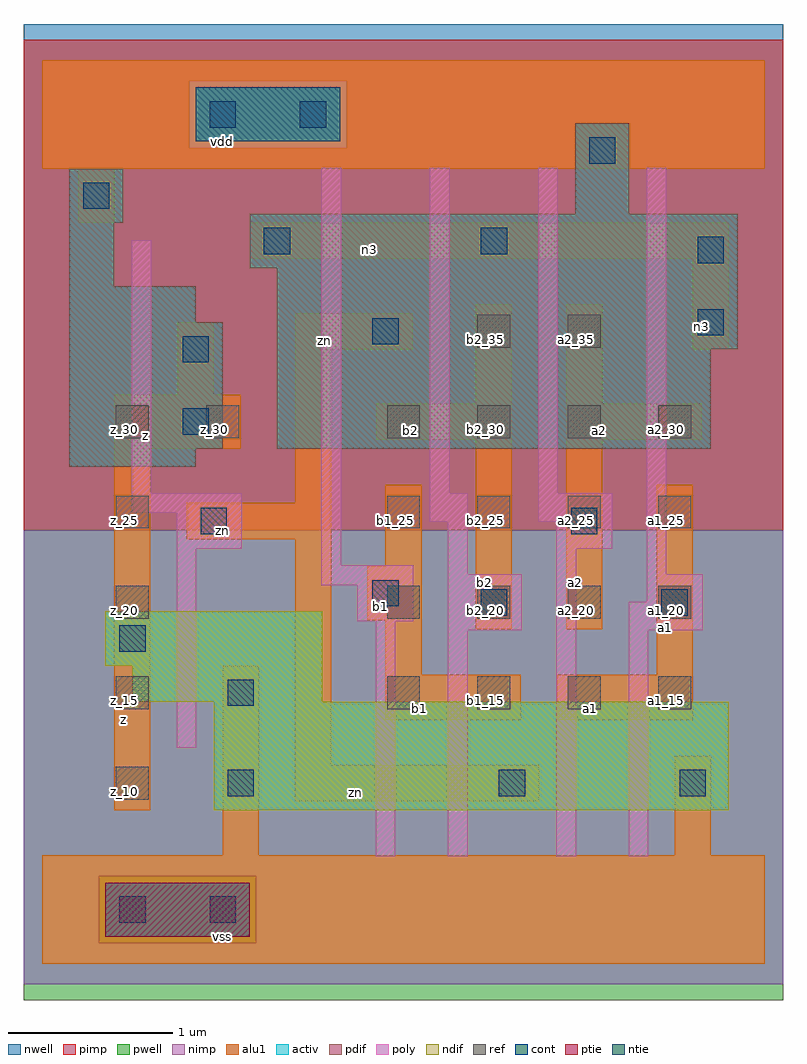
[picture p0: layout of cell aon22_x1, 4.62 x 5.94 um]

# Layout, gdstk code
import gdstk
lib = gdstk.Library(unit=1e-6, precision=2.5e-09)
def R(c, l, rs):  # rectangles x0, y0, x1, y1
    for r in rs: c.add(gdstk.rectangle(r[:2], r[2:], *l))
def A(c, l, x, y, w, h, nx, ny, dx, dy):  # array of equal rectangles
    R(c, l, [(x+i*dx, y+j*dy, x+i*dx+w, y+j*dy+h) for i in range(nx) for j in range(ny)])
ndif = (3, 0)
pdif = (4, 0)
ntie = (5, 0)
ptie = (6, 0)
ref = (24, 0)
cont = (25, 0)
pwell = (41, 0)
nwell = (42, 0)
activ = (43, 0)
pimp = (44, 0)
nimp = (45, 0)
poly = (46, 0)
alu1 = (49, 0)

aon22_x1 = lib.new_cell('aon22_x1')
R(aon22_x1, ndif, [(1.045,0.935,4.18,1.595), (0.55,1.595,1.705,1.815), (0.385,1.815,1.705,2.145)])
R(aon22_x1, pdif, [(0.165,3.025,0.935,3.135), (0.165,3.135,1.1,3.905), (1.43,3.135,4.07,3.74), (1.43,3.74,4.235,4.235), (0.165,3.905,0.935,4.125), (0.165,4.125,0.44,4.51), (1.265,4.235,4.235,4.565), (0.165,4.51,0.495,4.84), (3.245,4.565,3.575,5.115)])
R(aon22_x1, ntie, [(0.935,5.005,1.815,5.335)])
R(aon22_x1, ptie, [(0.385,0.165,1.265,0.495)])
A(aon22_x1, ref, 0.45, 1, 0.2, 0.2, 1, 5, 0, 0.55)
A(aon22_x1, ref, 2.1, 1.55, 0.2, 0.2, 4, 4, 0.55, 0.55)
R(aon22_x1, ref, [(1,3.2,1.2,3.4), (2.65,3.75,2.85,3.95), (3.2,3.75,3.4,3.95)])
R(aon22_x1, cont, [(0.47,0.25,0.63,0.41), (1.02,0.25,1.18,0.41), (1.13,1.02,1.29,1.18), (2.78,1.02,2.94,1.18), (3.88,1.02,4.04,1.18), (1.13,1.57,1.29,1.73), (0.47,1.9,0.63,2.06), (2.67,2.12,2.83,2.28), (3.77,2.12,3.93,2.28), (2.01,2.175,2.17,2.335), (0.965,2.615,1.125,2.775), (3.22,2.615,3.38,2.775), (0.855,3.22,1.015,3.38), (0.855,3.66,1.015,3.82), (2.01,3.77,2.17,3.93), (3.99,3.825,4.15,3.985), (3.99,4.265,4.15,4.425), (1.35,4.32,1.51,4.48), (2.67,4.32,2.83,4.48), (0.25,4.595,0.41,4.755), (3.33,4.87,3.49,5.03), (1.02,5.09,1.18,5.25), (1.57,5.09,1.73,5.25)])
R(aon22_x1, pwell, [(-0.11,-0.22,4.51,2.64)])
R(aon22_x1, nwell, [(-0.11,2.64,4.51,5.72)])
R(aon22_x1, activ, [(0.385,0.165,1.265,0.495), (1.045,0.935,4.18,1.595), (0.55,1.595,1.705,1.815), (0.385,1.815,1.705,2.145), (0.165,3.025,0.935,3.135), (0.165,3.135,1.1,3.905), (1.43,3.135,4.07,3.74), (1.43,3.74,4.235,4.235), (0.165,3.905,0.935,4.125), (0.165,4.125,0.44,4.51), (1.265,4.235,4.235,4.565), (0.165,4.51,0.495,4.84), (3.245,4.565,3.575,5.115), (0.935,5.005,1.815,5.335)])
R(aon22_x1, pimp, [(0.345,0.125,1.305,0.535), (-0.11,2.64,4.51,4.965), (-0.11,4.965,0.895,5.375), (1.855,4.965,4.51,5.375), (-0.11,5.375,4.51,5.625)])
R(aon22_x1, nimp, [(-0.11,-0.125,4.51,0.125), (-0.11,0.125,0.345,0.535), (1.305,0.125,4.51,0.535), (-0.11,0.535,4.51,2.64), (0.895,4.965,1.855,5.375)])
R(aon22_x1, poly, [(2.03,0.655,2.15,2.085), (2.47,0.655,2.59,2.03), (3.13,0.655,3.25,2.525), (3.57,0.655,3.69,2.03), (0.82,1.315,0.94,2.525), (2.47,2.03,2.92,2.37), (3.57,2.03,4.02,2.205), (1.92,2.085,2.26,2.305), (3.68,2.205,4.02,2.37), (1.7,2.305,2.26,2.425), (2.47,2.37,2.59,2.69), (3.68,2.37,3.8,4.845), (1.7,2.425,1.82,4.845), (0.82,2.525,1.215,2.745), (3.13,2.525,3.47,2.69), (2.36,2.69,2.59,2.865), (3.02,2.69,3.47,2.865), (0.545,2.745,1.215,2.865), (0.545,2.865,0.665,4.405), (2.36,2.865,2.48,4.845), (3.02,2.865,3.14,4.845)])
R(aon22_x1, alu1, [(0,0,4.4,0.66), (1.1,0.66,1.32,1.815), (3.85,0.66,4.07,1.265), (0.44,0.935,0.66,3.135), (1.54,0.99,3.025,1.21), (1.54,1.21,1.76,2.585), (2.09,1.485,2.915,1.76), (3.135,1.485,3.96,1.76), (2.09,1.76,2.31,2.09), (3.74,1.76,3.96,2.915), (2.64,2.035,2.86,3.19), (3.19,2.035,3.41,3.19), (1.98,2.09,2.31,2.42), (2.09,2.42,2.31,2.915), (0.88,2.585,1.76,2.805), (1.54,2.805,1.76,3.74), (0.44,3.135,1.21,3.465), (2.035,3.19,2.86,3.41), (3.19,3.19,4.015,3.41), (2.64,3.41,2.86,4.015), (3.19,3.41,3.41,4.015), (0.825,3.465,1.045,3.905), (1.54,3.74,2.255,3.96), (3.96,3.74,4.18,4.29), (1.265,4.29,4.18,4.51), (0.22,4.51,0.44,4.84), (0,4.84,4.4,5.5)])
aon22_x1.add(gdstk.Label('vss', (1.1,0.165), layer=49, texttype=0))
aon22_x1.add(gdstk.Label('zn', (1.91,1.045), layer=49, texttype=0))
aon22_x1.add(gdstk.Label('a1', (3.34,1.5525), layer=49, texttype=0))
aon22_x1.add(gdstk.Label('b1', (2.295,1.5525), layer=49, texttype=0))
aon22_x1.add(gdstk.Label('a1', (3.795,2.0475), layer=49, texttype=0))
aon22_x1.add(gdstk.Label('a2', (3.245,2.3225), layer=49, texttype=0))
aon22_x1.add(gdstk.Label('a2', (3.395,3.245), layer=49, texttype=0))
aon22_x1.add(gdstk.Label('n3', (4.015,3.8775), layer=49, texttype=0))
aon22_x1.add(gdstk.Label('b2', (2.695,2.3225), layer=49, texttype=0))
aon22_x1.add(gdstk.Label('b1', (2.0625,2.1725), layer=49, texttype=0))
aon22_x1.add(gdstk.Label('zn', (1.1,2.64), layer=49, texttype=0))
aon22_x1.add(gdstk.Label('b2', (2.24,3.245), layer=49, texttype=0))
aon22_x1.add(gdstk.Label('z', (0.495,1.485), layer=49, texttype=0))
aon22_x1.add(gdstk.Label('z', (0.6325,3.2175), layer=49, texttype=0))
aon22_x1.add(gdstk.Label('zn', (1.7175,3.795), layer=49, texttype=0))
aon22_x1.add(gdstk.Label('n3', (1.9925,4.345), layer=49, texttype=0))
aon22_x1.add(gdstk.Label('vdd', (1.1,5.005), layer=49, texttype=0))
aon22_x1.add(gdstk.Label('z_10', (0.5,1.05), layer=24, texttype=0))
aon22_x1.add(gdstk.Label('z_15', (0.5,1.6), layer=24, texttype=0))
aon22_x1.add(gdstk.Label('z_20', (0.5,2.15), layer=24, texttype=0))
aon22_x1.add(gdstk.Label('z_25', (0.5,2.7), layer=24, texttype=0))
aon22_x1.add(gdstk.Label('z_30', (0.5,3.25), layer=24, texttype=0))
aon22_x1.add(gdstk.Label('z_30', (1.05,3.25), layer=24, texttype=0))
aon22_x1.add(gdstk.Label('b2_20', (2.7,2.15), layer=24, texttype=0))
aon22_x1.add(gdstk.Label('b2_25', (2.7,2.7), layer=24, texttype=0))
aon22_x1.add(gdstk.Label('b2_30', (2.15,3.25), layer=24, texttype=0))
aon22_x1.add(gdstk.Label('b1_15', (2.7,1.6), layer=24, texttype=0))
aon22_x1.add(gdstk.Label('b1_20', (2.15,2.15), layer=24, texttype=0))
aon22_x1.add(gdstk.Label('a1_20', (3.8,2.15), layer=24, texttype=0))
aon22_x1.add(gdstk.Label('b2_30', (2.7,3.25), layer=24, texttype=0))
aon22_x1.add(gdstk.Label('b1_25', (2.15,2.7), layer=24, texttype=0))
aon22_x1.add(gdstk.Label('b1_15', (2.15,1.6), layer=24, texttype=0))
aon22_x1.add(gdstk.Label('a2_20', (3.25,2.15), layer=24, texttype=0))
aon22_x1.add(gdstk.Label('a2_30', (3.8,3.25), layer=24, texttype=0))
aon22_x1.add(gdstk.Label('a1_15', (3.25,1.6), layer=24, texttype=0))
aon22_x1.add(gdstk.Label('a1_15', (3.8,1.6), layer=24, texttype=0))
aon22_x1.add(gdstk.Label('a1_25', (3.8,2.7), layer=24, texttype=0))
aon22_x1.add(gdstk.Label('a2_25', (3.25,2.7), layer=24, texttype=0))
aon22_x1.add(gdstk.Label('a2_30', (3.25,3.25), layer=24, texttype=0))
aon22_x1.add(gdstk.Label('b2_35', (2.7,3.8), layer=24, texttype=0))
aon22_x1.add(gdstk.Label('a2_35', (3.25,3.8), layer=24, texttype=0))

lib.write_gds('aon22_x1.gds')
